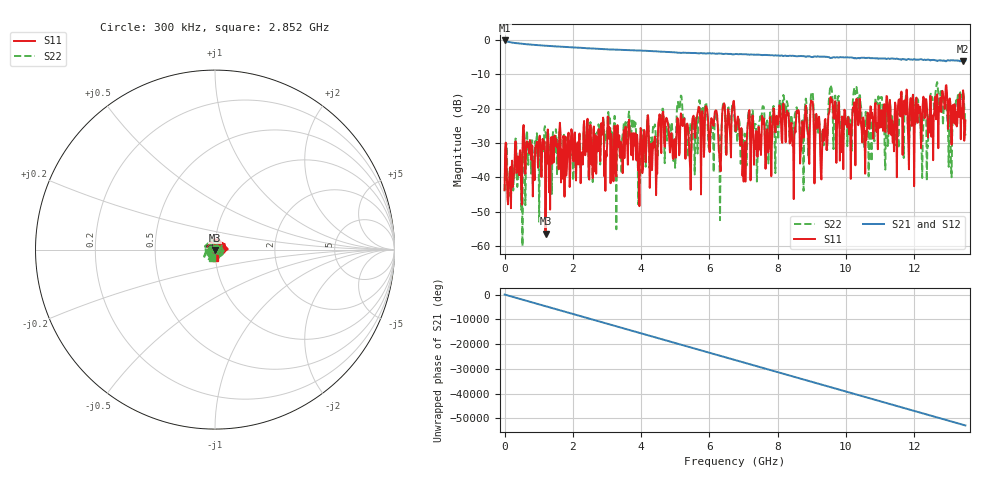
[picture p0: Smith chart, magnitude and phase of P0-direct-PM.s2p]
!Agilent Technologies,N5230A,MY45000845,A.06.01.05
!Agilent N5230A: A.06.01.05
!Date: Friday, July 13, 2012 16:32:47
!Correction: S11(Full 2 Port(1,2)) S21(Full 2 Port(1,2)) S12(Full 2 Port(1,2)) S22(Full 2 Port(1,2))
!S2P File: Measurements: S11, S21, S12, S22:
# Hz S  dB  R 50
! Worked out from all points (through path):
!   801 points, 300 kHz to 13.5 GHz, reference 50 ohm
!   highest |S21| = -0.07 dB at 300 kHz (marker M1); lowest = -6.2 dB at 13.43 GHz (marker M2)
!   lowest |S11| = -56.5 dB at 1.198 GHz (marker M3), VSWR 1.00, Z = 50 - j0.15 ohm
!   |S11| at or under -10 dB: start of sweep to end of sweep
!   |S22| runs from -60.1 to -12.2 dB; largest |S21 - S12| = 0.0065
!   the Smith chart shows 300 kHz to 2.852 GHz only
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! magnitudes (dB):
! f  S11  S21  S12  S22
! 300 kHz  -43.7  -0.1  0.0  -44.1
! 1.198 GHz  -56.5  -1.6  -1.6  -26.9
! 2.261 GHz  -32.7  -2.2  -2.2  -35.0
! 4.506 GHz  -24.2  -3.3  -3.3  -25.7
! 4.961 GHz  -29.8  -3.5  -3.5  -31.1
! 5.13 GHz  -32.9  -3.7  -3.7  -20.1
! 5.417 GHz  -33.9  -3.7  -3.7  -24.6
! 6.75 GHz  -23.6  -4.1  -4.0  -27.1
! 7.02 GHz  -30.9  -4.1  -4.1  -30.9
! 9.011 GHz  -18.0  -4.9  -4.9  -15.1
! 9.298 GHz  -34.2  -4.8  -4.8  -29.9
! 9.551 GHz  -16.6  -5.2  -5.2  -13.1
! 9.872 GHz  -27.4  -5.0  -5.0  -23.3
! 10.11 GHz  -24.4  -5.0  -5.0  -23.0
! 10.28 GHz  -36.5  -5.2  -5.2  -15.7
! 10.68 GHz  -25.9  -5.1  -5.2  -29.5
! 11.26 GHz  -27.3  -5.3  -5.4  -23.3
! 12.22 GHz  -28.0  -5.6  -5.6  -32.1
! 12.71 GHz  -31.5  -5.9  -5.9  -15.5
! 13.04 GHz  -17.0  -5.9  -5.9  -22.0
! 13.43 GHz  -14.6  -6.2  -6.1  -14.9
! 13.5 GHz  -23.4  -6.0  -6.0  -27.8
